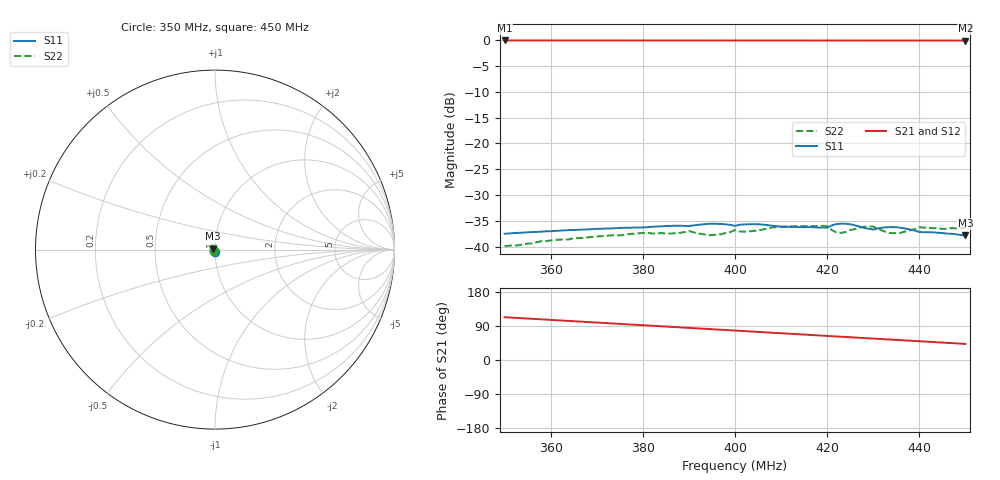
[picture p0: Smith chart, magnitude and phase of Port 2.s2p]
! RsaToolbox (C) 2014 Rohde & Schwarz America
! Number of points: 101
! Number of ports: 2
! Balanced ports?: No
# Hz S RI R 50
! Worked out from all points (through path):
!   101 points, 350 MHz to 450 MHz, reference 50 ohm
!   highest |S21| = -0.13 dB at 350 MHz (marker M1); lowest = -0.1 dB at 450 MHz (marker M2)
!   group delay of S21, straight-line fit = 1.96 ns
!   lowest |S11| = -37.8 dB at 450 MHz (marker M3), VSWR 1.03, Z = 48.8 + j0.488 ohm
!   |S11| at or under -10 dB: start of sweep to end of sweep
!   |S22| runs from -39.8 to -35.9 dB; largest |S21 - S12| = 0
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3.5e8  -0.00256 -0.0132  -0.3838 0.9074  -0.3838 0.9074  -0.00707 -0.00736
3.58e8  -0.00483 -0.0132  -0.2928 0.9405  -0.2928 0.9405  -0.00901 -0.00698
3.67e8  -0.00729 -0.0128  -0.187 0.9669  -0.187 0.9669  -0.0108 -0.00579
3.8e8  -0.0107 -0.0112  -0.0307 0.9841  -0.0307 0.9841  -0.0129 -0.00442
3.84e8  -0.0116 -0.0108  0.0177 0.9843  0.0177 0.9843  -0.0133 -0.00319
3.88e8  -0.0125 -0.0101  0.0661 0.9822  0.0661 0.9822  -0.0135 -0.00258
3.9e8  -0.0128 -0.00945  0.0903 0.9803  0.0903 0.9803  -0.0141 -0.0026
3.95e8  -0.0143 -0.00874  0.1503 0.9728  0.1503 0.9728  -0.0129 -0.00179
4e8  -0.0144 -0.00709  0.2099 0.9616  0.2099 0.9616  -0.0146 -0.000767
4.02e8  -0.0153 -0.00629  0.2334 0.9561  0.2334 0.9561  -0.014 -0.00176
4.09e8  -0.0153 -0.00436  0.3147 0.9323  0.3147 0.9323  -0.0156 -0.000151
4.17e8  -0.0153 -0.00258  0.4047 0.8968  0.4047 0.8968  -0.0158 0.00224
4.2e8  -0.0153 -0.00188  0.4375 0.8812  0.4375 0.8812  -0.0156 0.0031
4.22e8  -0.0166 -0.000495  0.459 0.8702  0.459 0.8702  -0.0138 0.000715
4.23e8  -0.0168 0.000191  0.4697 0.8645  0.4697 0.8645  -0.0137 4.68e-06
4.28e8  -0.0153 0.00149  0.5218 0.8338  0.5218 0.8338  -0.0156 0.00197
4.3e8  -0.0148 0.000581  0.5422 0.8207  0.5422 0.8207  -0.0149 0.00511
4.34e8  -0.0155 0.00205  0.5818 0.793  0.5818 0.793  -0.013 0.00419
4.36e8  -0.0151 0.00265  0.6011 0.7785  0.6011 0.7785  -0.013 0.00439
4.4e8  -0.0137 0.00295  0.6386 0.7479  0.6386 0.7479  -0.014 0.00681
4.45e8  -0.013 0.00411  0.6833 0.7072  0.6833 0.7072  -0.0132 0.0071
4.5e8  -0.0119 0.005  0.7254 0.6638  0.7254 0.6638  -0.013 0.00835
